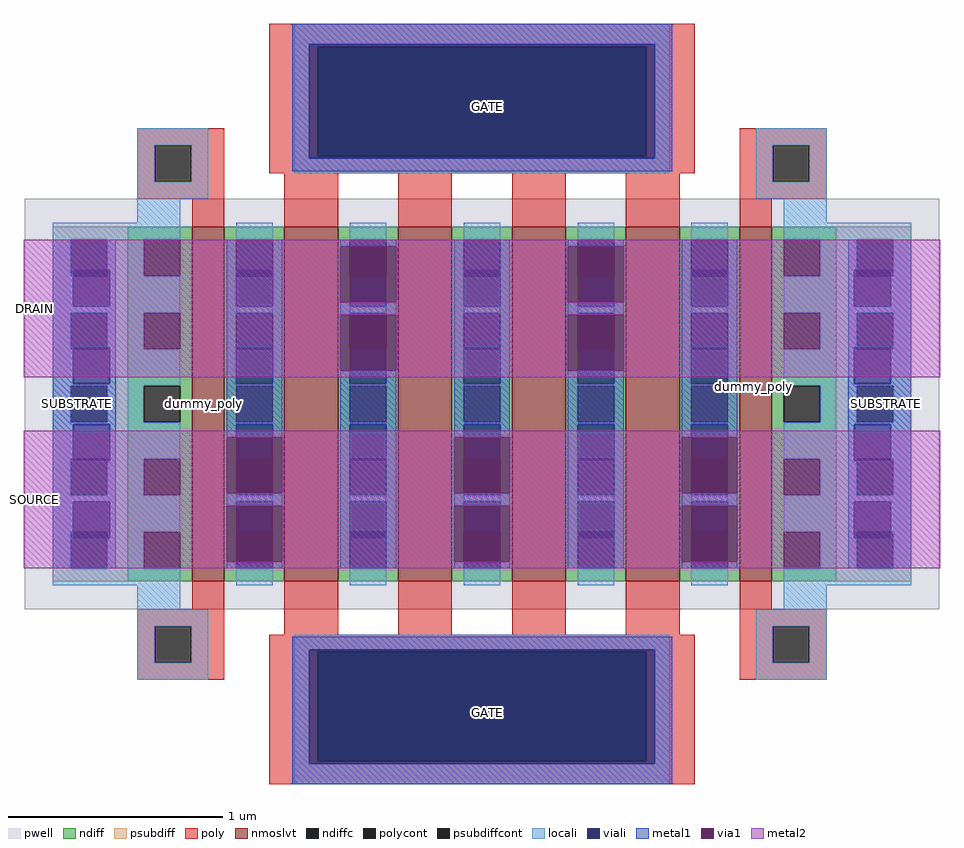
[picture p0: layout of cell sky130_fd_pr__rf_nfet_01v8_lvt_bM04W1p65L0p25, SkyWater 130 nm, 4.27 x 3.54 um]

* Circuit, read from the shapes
.subckt sky130_fd_pr__rf_nfet_01v8_lvt_bM04W1p65L0p25 DRAIN GATE SOURCE SUBSTRATE
XM1 SOURCE SUBSTRATE SUBSTRATE SUBSTRATE sky130_fd_pr__nfet_01v8_lvt w=1.65 l=0.15 m=2
XM2 DRAIN GATE SOURCE SUBSTRATE sky130_fd_pr__nfet_01v8_lvt w=1.65 l=0.25 m=4
.ends

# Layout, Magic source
magic
tech sky130A
magscale 1 2
<< pwell >>
rect 15 163 867 545
<< nmoslvt >>
rect 171 189 201 519
rect 257 189 307 519
rect 363 189 413 519
rect 469 189 519 519
rect 575 189 625 519
rect 681 189 711 519
<< ndiff >>
rect 111 507 171 519
rect 111 473 126 507
rect 160 473 171 507
rect 111 439 171 473
rect 111 405 126 439
rect 160 405 171 439
rect 111 371 171 405
rect 111 337 126 371
rect 160 337 171 371
rect 111 303 171 337
rect 111 269 126 303
rect 160 269 171 303
rect 111 235 171 269
rect 111 201 126 235
rect 160 201 171 235
rect 111 189 171 201
rect 201 507 257 519
rect 201 473 212 507
rect 246 473 257 507
rect 201 439 257 473
rect 201 405 212 439
rect 246 405 257 439
rect 201 371 257 405
rect 201 337 212 371
rect 246 337 257 371
rect 201 303 257 337
rect 201 269 212 303
rect 246 269 257 303
rect 201 235 257 269
rect 201 201 212 235
rect 246 201 257 235
rect 201 189 257 201
rect 307 507 363 519
rect 307 473 318 507
rect 352 473 363 507
rect 307 439 363 473
rect 307 405 318 439
rect 352 405 363 439
rect 307 371 363 405
rect 307 337 318 371
rect 352 337 363 371
rect 307 303 363 337
rect 307 269 318 303
rect 352 269 363 303
rect 307 235 363 269
rect 307 201 318 235
rect 352 201 363 235
rect 307 189 363 201
rect 413 507 469 519
rect 413 473 424 507
rect 458 473 469 507
rect 413 439 469 473
rect 413 405 424 439
rect 458 405 469 439
rect 413 371 469 405
rect 413 337 424 371
rect 458 337 469 371
rect 413 303 469 337
rect 413 269 424 303
rect 458 269 469 303
rect 413 235 469 269
rect 413 201 424 235
rect 458 201 469 235
rect 413 189 469 201
rect 519 507 575 519
rect 519 473 530 507
rect 564 473 575 507
rect 519 439 575 473
rect 519 405 530 439
rect 564 405 575 439
rect 519 371 575 405
rect 519 337 530 371
rect 564 337 575 371
rect 519 303 575 337
rect 519 269 530 303
rect 564 269 575 303
rect 519 235 575 269
rect 519 201 530 235
rect 564 201 575 235
rect 519 189 575 201
rect 625 507 681 519
rect 625 473 636 507
rect 670 473 681 507
rect 625 439 681 473
rect 625 405 636 439
rect 670 405 681 439
rect 625 371 681 405
rect 625 337 636 371
rect 670 337 681 371
rect 625 303 681 337
rect 625 269 636 303
rect 670 269 681 303
rect 625 235 681 269
rect 625 201 636 235
rect 670 201 681 235
rect 625 189 681 201
rect 711 507 771 519
rect 711 473 722 507
rect 756 473 771 507
rect 711 439 771 473
rect 711 405 722 439
rect 756 405 771 439
rect 711 371 771 405
rect 711 337 722 371
rect 756 337 771 371
rect 711 303 771 337
rect 711 269 722 303
rect 756 269 771 303
rect 711 235 771 269
rect 711 201 722 235
rect 756 201 771 235
rect 711 189 771 201
<< ndiffc >>
rect 126 473 160 507
rect 126 405 160 439
rect 126 337 160 371
rect 126 269 160 303
rect 126 201 160 235
rect 212 473 246 507
rect 212 405 246 439
rect 212 337 246 371
rect 212 269 246 303
rect 212 201 246 235
rect 318 473 352 507
rect 318 405 352 439
rect 318 337 352 371
rect 318 269 352 303
rect 318 201 352 235
rect 424 473 458 507
rect 424 405 458 439
rect 424 337 458 371
rect 424 269 458 303
rect 424 201 458 235
rect 530 473 564 507
rect 530 405 564 439
rect 530 337 564 371
rect 530 269 564 303
rect 530 201 564 235
rect 636 473 670 507
rect 636 405 670 439
rect 636 337 670 371
rect 636 269 670 303
rect 636 201 670 235
rect 722 473 756 507
rect 722 405 756 439
rect 722 337 756 371
rect 722 269 756 303
rect 722 201 756 235
<< psubdiff >>
rect 41 507 111 519
rect 41 473 58 507
rect 92 473 111 507
rect 41 439 111 473
rect 41 405 58 439
rect 92 405 111 439
rect 41 371 111 405
rect 41 337 58 371
rect 92 337 111 371
rect 41 303 111 337
rect 41 269 58 303
rect 92 269 111 303
rect 41 235 111 269
rect 41 201 58 235
rect 92 201 111 235
rect 41 189 111 201
rect 771 507 841 519
rect 771 473 790 507
rect 824 473 841 507
rect 771 439 841 473
rect 771 405 790 439
rect 824 405 841 439
rect 771 371 841 405
rect 771 337 790 371
rect 824 337 841 371
rect 771 303 841 337
rect 771 269 790 303
rect 824 269 841 303
rect 771 235 841 269
rect 771 201 790 235
rect 824 201 841 235
rect 771 189 841 201
<< psubdiffcont >>
rect 58 473 92 507
rect 58 405 92 439
rect 58 337 92 371
rect 58 269 92 303
rect 58 201 92 235
rect 790 473 824 507
rect 790 405 824 439
rect 790 337 824 371
rect 790 269 824 303
rect 790 201 824 235
<< poly >>
rect 243 687 639 708
rect 120 595 201 611
rect 120 561 136 595
rect 170 561 201 595
rect 243 585 288 687
rect 594 585 639 687
rect 243 569 639 585
rect 681 595 762 611
rect 120 545 201 561
rect 171 519 201 545
rect 257 519 307 569
rect 363 519 413 569
rect 469 519 519 569
rect 575 519 625 569
rect 681 561 712 595
rect 746 561 762 595
rect 681 545 762 561
rect 681 519 711 545
rect 171 163 201 189
rect 120 147 201 163
rect 120 113 136 147
rect 170 113 201 147
rect 257 139 307 189
rect 363 139 413 189
rect 469 139 519 189
rect 575 139 625 189
rect 681 163 711 189
rect 681 147 762 163
rect 120 97 201 113
rect 243 123 639 139
rect 243 21 288 123
rect 594 21 639 123
rect 681 113 712 147
rect 746 113 762 147
rect 681 97 762 113
rect 243 0 639 21
<< polycont >>
rect 136 561 170 595
rect 288 585 594 687
rect 712 561 746 595
rect 136 113 170 147
rect 288 21 594 123
rect 712 113 746 147
<< locali >>
rect 266 689 616 708
rect 120 595 186 611
rect 120 561 136 595
rect 170 561 186 595
rect 266 583 280 689
rect 602 583 616 689
rect 266 569 616 583
rect 696 595 762 611
rect 120 545 186 561
rect 696 561 712 595
rect 746 561 762 595
rect 696 545 762 561
rect 120 523 160 545
rect 722 523 762 545
rect 41 507 160 523
rect 41 473 58 507
rect 92 479 126 507
rect 94 473 126 479
rect 41 445 60 473
rect 94 445 160 473
rect 41 439 160 445
rect 41 405 58 439
rect 92 407 126 439
rect 94 405 126 407
rect 41 373 60 405
rect 94 373 160 405
rect 41 371 160 373
rect 41 337 58 371
rect 92 337 126 371
rect 41 335 160 337
rect 41 303 60 335
rect 94 303 160 335
rect 41 269 58 303
rect 94 301 126 303
rect 92 269 126 301
rect 41 263 160 269
rect 41 235 60 263
rect 94 235 160 263
rect 41 201 58 235
rect 94 229 126 235
rect 92 201 126 229
rect 41 185 160 201
rect 212 507 246 523
rect 212 439 246 445
rect 212 371 246 373
rect 212 335 246 337
rect 212 263 246 269
rect 212 185 246 201
rect 318 507 352 523
rect 318 439 352 445
rect 318 371 352 373
rect 318 335 352 337
rect 318 263 352 269
rect 318 185 352 201
rect 424 507 458 523
rect 424 439 458 445
rect 424 371 458 373
rect 424 335 458 337
rect 424 263 458 269
rect 424 185 458 201
rect 530 507 564 523
rect 530 439 564 445
rect 530 371 564 373
rect 530 335 564 337
rect 530 263 564 269
rect 530 185 564 201
rect 636 507 670 523
rect 636 439 670 445
rect 636 371 670 373
rect 636 335 670 337
rect 636 263 670 269
rect 636 185 670 201
rect 722 507 841 523
rect 756 479 790 507
rect 756 473 788 479
rect 824 473 841 507
rect 722 445 788 473
rect 822 445 841 473
rect 722 439 841 445
rect 756 407 790 439
rect 756 405 788 407
rect 824 405 841 439
rect 722 373 788 405
rect 822 373 841 405
rect 722 371 841 373
rect 756 337 790 371
rect 824 337 841 371
rect 722 335 841 337
rect 722 303 788 335
rect 822 303 841 335
rect 756 301 788 303
rect 756 269 790 301
rect 824 269 841 303
rect 722 263 841 269
rect 722 235 788 263
rect 822 235 841 263
rect 756 229 788 235
rect 756 201 790 229
rect 824 201 841 235
rect 722 185 841 201
rect 120 163 160 185
rect 722 163 762 185
rect 120 147 186 163
rect 120 113 136 147
rect 170 113 186 147
rect 696 147 762 163
rect 120 97 186 113
rect 266 125 616 139
rect 266 19 280 125
rect 602 19 616 125
rect 696 113 712 147
rect 746 113 762 147
rect 696 97 762 113
rect 266 0 616 19
<< viali >>
rect 280 687 602 689
rect 280 585 288 687
rect 288 585 594 687
rect 594 585 602 687
rect 280 583 602 585
rect 60 473 92 479
rect 92 473 94 479
rect 60 445 94 473
rect 60 405 92 407
rect 92 405 94 407
rect 60 373 94 405
rect 60 303 94 335
rect 60 301 92 303
rect 92 301 94 303
rect 60 235 94 263
rect 60 229 92 235
rect 92 229 94 235
rect 212 473 246 479
rect 212 445 246 473
rect 212 405 246 407
rect 212 373 246 405
rect 212 303 246 335
rect 212 301 246 303
rect 212 235 246 263
rect 212 229 246 235
rect 318 473 352 479
rect 318 445 352 473
rect 318 405 352 407
rect 318 373 352 405
rect 318 303 352 335
rect 318 301 352 303
rect 318 235 352 263
rect 318 229 352 235
rect 424 473 458 479
rect 424 445 458 473
rect 424 405 458 407
rect 424 373 458 405
rect 424 303 458 335
rect 424 301 458 303
rect 424 235 458 263
rect 424 229 458 235
rect 530 473 564 479
rect 530 445 564 473
rect 530 405 564 407
rect 530 373 564 405
rect 530 303 564 335
rect 530 301 564 303
rect 530 235 564 263
rect 530 229 564 235
rect 636 473 670 479
rect 636 445 670 473
rect 636 405 670 407
rect 636 373 670 405
rect 636 303 670 335
rect 636 301 670 303
rect 636 235 670 263
rect 636 229 670 235
rect 788 473 790 479
rect 790 473 822 479
rect 788 445 822 473
rect 788 405 790 407
rect 790 405 822 407
rect 788 373 822 405
rect 788 303 822 335
rect 788 301 790 303
rect 790 301 822 303
rect 788 235 822 263
rect 788 229 790 235
rect 790 229 822 235
rect 280 123 602 125
rect 280 21 288 123
rect 288 21 594 123
rect 594 21 602 123
rect 280 19 602 21
<< metal1 >>
rect 264 689 618 708
rect 264 583 280 689
rect 602 583 618 689
rect 264 571 618 583
rect 41 479 100 507
rect 41 445 60 479
rect 94 445 100 479
rect 41 407 100 445
rect 41 373 60 407
rect 94 373 100 407
rect 41 335 100 373
rect 41 301 60 335
rect 94 301 100 335
rect 41 263 100 301
rect 41 229 60 263
rect 94 229 100 263
rect 41 201 100 229
rect 203 479 255 507
rect 203 445 212 479
rect 246 445 255 479
rect 203 407 255 445
rect 203 373 212 407
rect 246 373 255 407
rect 203 335 255 373
rect 203 323 212 335
rect 246 323 255 335
rect 203 263 255 271
rect 203 259 212 263
rect 246 259 255 263
rect 203 201 255 207
rect 309 501 361 507
rect 309 445 318 449
rect 352 445 361 449
rect 309 437 361 445
rect 309 373 318 385
rect 352 373 361 385
rect 309 335 361 373
rect 309 301 318 335
rect 352 301 361 335
rect 309 263 361 301
rect 309 229 318 263
rect 352 229 361 263
rect 309 201 361 229
rect 415 479 467 507
rect 415 445 424 479
rect 458 445 467 479
rect 415 407 467 445
rect 415 373 424 407
rect 458 373 467 407
rect 415 335 467 373
rect 415 323 424 335
rect 458 323 467 335
rect 415 263 467 271
rect 415 259 424 263
rect 458 259 467 263
rect 415 201 467 207
rect 521 501 573 507
rect 521 445 530 449
rect 564 445 573 449
rect 521 437 573 445
rect 521 373 530 385
rect 564 373 573 385
rect 521 335 573 373
rect 521 301 530 335
rect 564 301 573 335
rect 521 263 573 301
rect 521 229 530 263
rect 564 229 573 263
rect 521 201 573 229
rect 627 479 679 507
rect 627 445 636 479
rect 670 445 679 479
rect 627 407 679 445
rect 627 373 636 407
rect 670 373 679 407
rect 627 335 679 373
rect 627 323 636 335
rect 670 323 679 335
rect 627 263 679 271
rect 627 259 636 263
rect 670 259 679 263
rect 627 201 679 207
rect 782 479 841 507
rect 782 445 788 479
rect 822 445 841 479
rect 782 407 841 445
rect 782 373 788 407
rect 822 373 841 407
rect 782 335 841 373
rect 782 301 788 335
rect 822 301 841 335
rect 782 263 841 301
rect 782 229 788 263
rect 822 229 841 263
rect 782 201 841 229
rect 264 125 618 137
rect 264 19 280 125
rect 602 19 618 125
rect 264 0 618 19
<< via1 >>
rect 203 301 212 323
rect 212 301 246 323
rect 246 301 255 323
rect 203 271 255 301
rect 203 229 212 259
rect 212 229 246 259
rect 246 229 255 259
rect 203 207 255 229
rect 309 479 361 501
rect 309 449 318 479
rect 318 449 352 479
rect 352 449 361 479
rect 309 407 361 437
rect 309 385 318 407
rect 318 385 352 407
rect 352 385 361 407
rect 415 301 424 323
rect 424 301 458 323
rect 458 301 467 323
rect 415 271 467 301
rect 415 229 424 259
rect 424 229 458 259
rect 458 229 467 259
rect 415 207 467 229
rect 521 479 573 501
rect 521 449 530 479
rect 530 449 564 479
rect 564 449 573 479
rect 521 407 573 437
rect 521 385 530 407
rect 530 385 564 407
rect 564 385 573 407
rect 627 301 636 323
rect 636 301 670 323
rect 670 301 679 323
rect 627 271 679 301
rect 627 229 636 259
rect 636 229 670 259
rect 670 229 679 259
rect 627 207 679 229
<< metal2 >>
rect 14 501 868 507
rect 14 449 309 501
rect 361 449 521 501
rect 573 449 868 501
rect 14 437 868 449
rect 14 385 309 437
rect 361 385 521 437
rect 573 385 868 437
rect 14 379 868 385
rect 14 323 868 329
rect 14 271 203 323
rect 255 271 415 323
rect 467 271 627 323
rect 679 271 868 323
rect 14 259 868 271
rect 14 207 203 259
rect 255 207 415 259
rect 467 207 627 259
rect 679 207 868 259
rect 14 201 868 207
<< labels >>
flabel comment s 694 370 694 370 0 FreeSans 180 90 0 0 dummy_poly
flabel comment s 182 354 182 354 0 FreeSans 180 90 0 0 dummy_poly
flabel metal1 s 321 606 571 656 0 FreeSans 200 0 0 0 GATE
port 2 nsew
flabel metal1 s 321 42 571 92 0 FreeSans 200 0 0 0 GATE
port 2 nsew
flabel metal1 s 41 339 87 369 0 FreeSans 200 90 0 0 SUBSTRATE
port 4 nsew
flabel metal1 s 795 339 841 369 0 FreeSans 200 90 0 0 SUBSTRATE
port 4 nsew
flabel metal2 s 14 201 35 329 7 FreeSans 300 180 0 0 SOURCE
port 3 nsew
flabel metal2 s 14 379 35 507 7 FreeSans 300 180 0 0 DRAIN
port 1 nsew
<< properties >>
string GDS_FILE $PDKPATH/libs.ref/sky130_fd_pr/gds/sky130_fd_pr.gds
string GDS_END 6398474
string GDS_START 6382974
<< end >>
